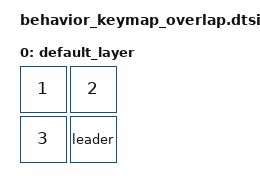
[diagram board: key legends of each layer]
#include <dt-bindings/zmk/keys.h>
#include <behaviors.dtsi>
#include <dt-bindings/zmk/kscan_mock.h>

/ {
    leader: leader {
        compatible = "zmk,behavior-leader-key";
        #binding-cells = <0>;
        timeout-ms = <200>;

        leader_seq_one {
            key-positions = <0>;
            bindings = <&kp A>;
        };

        leader_seq_two {
            key-positions = <1>;
            bindings = <&kp B>;
        };

        leader_seq_three {
            key-positions = <0 1>;
            bindings = <&kp C>;
        };

    };

    keymap {
        compatible = "zmk,keymap";
        label ="Default keymap";

        default_layer {
            bindings = <
                &kp N1 &kp N2
                &kp N3 &leader
            >;
        };
    };
};
